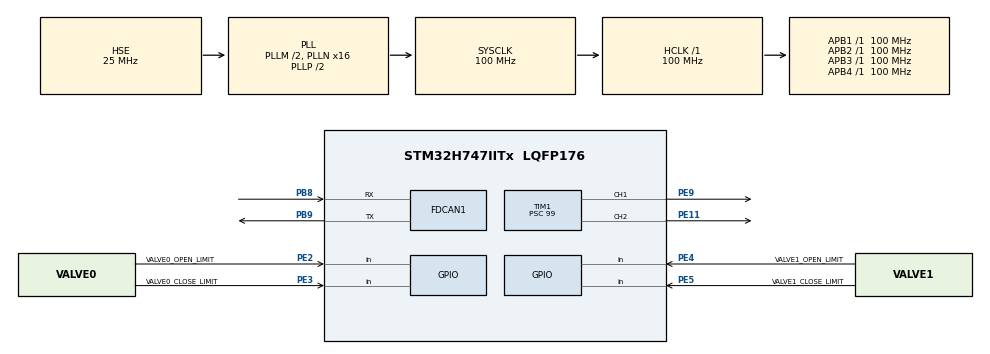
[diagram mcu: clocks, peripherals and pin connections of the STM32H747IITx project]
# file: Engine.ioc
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CORTEX_M7.default_mode_Activation=1
CortexM4.IPs=CORTEX_M4\:I,FATFS_M4\:I,FREERTOS_M4\:I,IWDG2\:I,OPENAMP_M4\:I,PDM2PCM_M4\:I,PWR,RCC,RESMGR_UTILITY,SYS_M4\:I,USB_DEVICE_M4\:I,USB_HOST_M4\:I,VREFBUF,WWDG2\:I,GPIO,DMA,BDMA,MDMA,NVIC2\:I
CortexM7.IPs=CORTEX_M7\:I,FATFS_M7\:I,FREERTOS_M7\:I,IWDG1\:I,OPENAMP_M7\:I,PDM2PCM_M7\:I,PWR\:I,RCC\:I,RESMGR_UTILITY\:I,SYS\:I,USB_DEVICE_M7\:I,USB_HOST_M7\:I,VREFBUF\:I,WWDG1\:I,GPIO\:I,DMA\:I,BDMA\:I,MDMA\:I,NVIC1\:I,TIM1\:I,FDCAN1\:I
CortexM7.Pins=PE2,PE3,PE4,PE5
FDCAN1.AutoRetransmission=ENABLE
FDCAN1.CalculateBaudRateNominal=125000
FDCAN1.CalculateTimeBitNominal=8000
FDCAN1.CalculateTimeQuantumNominal=500.0
FDCAN1.ExtFiltersNbr=1
FDCAN1.NominalPrescaler=25
FDCAN1.NominalSyncJumpWidth=1
FDCAN1.NominalTimeSeg1=13
FDCAN1.NominalTimeSeg2=2
FDCAN1.RxFifo0ElmtsNbr=32
FDCAN1.TxFifoQueueElmtsNbr=32
Mcu.Family=STM32H7
Mcu.Name=STM32H747IITx
Mcu.Package=LQFP176
NVIC1.PriorityGroup=NVIC_PRIORITYGROUP_4
NVIC2.PriorityGroup=NVIC_PRIORITYGROUP_4
PB8.GPIO_PuPd=GPIO_NOPULL
PB8.Mode=FDCAN_Activate
PB8.PinAttribute=CortexM7
PB8.Signal=FDCAN1_RX
PB9.GPIO_PuPd=GPIO_NOPULL
PB9.Mode=FDCAN_Activate
PB9.PinAttribute=CortexM7
PB9.Signal=FDCAN1_TX
PC14-OSC32_IN\ (OSC32_IN).Mode=LSE-External-Clock-Source
PC14-OSC32_IN\ (OSC32_IN).PinAttribute=Free
PC14-OSC32_IN\ (OSC32_IN).Signal=RCC_OSC32_IN
PE11.PinAttribute=CortexM7
PE11.Signal=S_TIM1_CH2
PE2.GPIO_Label=VALVE0_OPEN_LIMIT
PE2.GPIO_PuPd=GPIO_PULLUP
PE2.PinAttribute=CortexM7
PE2.Signal=GPIO_Input
PE3.GPIO_Label=VALVE0_CLOSE_LIMIT
PE3.GPIO_PuPd=GPIO_PULLUP
PE3.PinAttribute=CortexM7
PE3.Signal=GPIO_Input
PE4.GPIO_Label=VALVE1_OPEN_LIMIT
PE4.GPIO_PuPd=GPIO_PULLUP
PE4.PinAttribute=CortexM7
PE4.Signal=GPIO_Input
PE5.GPIO_Label=VALVE1_CLOSE_LIMIT
PE5.GPIO_PuPd=GPIO_PULLUP
PE5.PinAttribute=CortexM7
PE5.Signal=GPIO_Input
PE9.PinAttribute=CortexM7
PE9.Signal=S_TIM1_CH1
PH0-OSC_IN\ (PH0).Mode=HSE-External-Clock-Source
PH0-OSC_IN\ (PH0).PinAttribute=Free
PH0-OSC_IN\ (PH0).Signal=RCC_OSC_IN
ProjectManager.HeapSize=M4-0x200,M7-0x200
ProjectManager.StackSize=M4-0x400,M7-0x400
ProjectManager.TargetToolchain=CMake
RCC.ADCFreq_Value=50390625
RCC.APB1Freq_Value=100000000
RCC.APB2Freq_Value=100000000
RCC.APB3Freq_Value=100000000
RCC.APB4Freq_Value=100000000
RCC.CortexFreq_Value=100000000
RCC.DIVM1=2
RCC.DIVN1=16
RCC.DIVQ1=4
RCC.HCLKFreq_Value=100000000
RCC.PLL2FRACN=0
RCC.PLL3FRACN=0
RCC.PLLFRACN=0
RCC.PLLSourceVirtual=RCC_PLLSOURCE_HSE
RCC.SYSCLKFreq_VALUE=100000000
RCC.SYSCLKSource=RCC_SYSCLKSOURCE_PLLCLK
RCC.SupplySource=PWR_LDO_SUPPLY
RCC.USBFreq_Value=50000000
SH.S_TIM1_CH1.0=TIM1_CH1,PWM Generation1 CH1
SH.S_TIM1_CH2.0=TIM1_CH2,PWM Generation2 CH2
SYS.userName=SYS_M7
TIM1.Channel-PWM\ Generation1\ CH1=TIM_CHANNEL_1
TIM1.Channel-PWM\ Generation2\ CH2=TIM_CHANNEL_2
TIM1.Period=3003
TIM1.Prescaler=99
TIM1.Pulse-PWM\ Generation1\ CH1=1500
TIM1.Pulse-PWM\ Generation2\ CH2=1500
VP_SYS_M4_VS_Systick.Mode=SysTick
board=custom

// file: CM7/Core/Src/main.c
/* USER CODE BEGIN Header */
/**
  ******************************************************************************
  * @file           : main.c
  * @brief          : Main program body
  ******************************************************************************
  * @attention
  *
  * Copyright (c) 2026 STMicroelectronics.
  * All rights reserved.
  *
  * This software is licensed under terms that can be found in the LICENSE file
  * in the root directory of this software component.
  * If no LICENSE file comes with this software, it is provided AS-IS.
  *
  ******************************************************************************
  */
/* USER CODE END Header */
#include "main.h"

/* USER CODE BEGIN Includes */
#include "dil/can_types.h"   /* HAL-free CAN header + node/message id enums            */
#include "stm32h7xx_hal_fdcan.h"
#include "stm32h7xx_hal_rcc_ex.h"
#include "valve/ValveController.h"
#include "BoardEngine.h"
#include "can/CANController.h"
#include "dil/can_bus.h"
/* USER CODE END Includes */

/* USER CODE BEGIN PD */

/* DUAL_CORE_BOOT_SYNC_SEQUENCE: Define for dual core boot synchronization    */
/*                             demonstration code based on hardware semaphore */
/* This define is present in both CM7/CM4 projects                            */
/* To comment when developping/debugging on a single core                     */
#define DUAL_CORE_BOOT_SYNC_SEQUENCE

#if defined(DUAL_CORE_BOOT_SYNC_SEQUENCE)
#ifndef HSEM_ID_0
#define HSEM_ID_0 (0U) /* HW semaphore 0*/
#endif
#endif /* DUAL_CORE_BOOT_SYNC_SEQUENCE */

/* USER CODE END PD */

FDCAN_HandleTypeDef hfdcan1;

TIM_HandleTypeDef htim1;

/* USER CODE BEGIN PV */
static CANController canCtrl;
/* USER CODE END PV */

void SystemClock_Config(void);
static void MPU_Config(void);
static void MX_GPIO_Init(void);
static void MX_FDCAN1_Init(void);
static void MX_TIM1_Init(void);

/* USER CODE BEGIN 0 */
/* ---- TEMP: CAN ping/echo test (Engine = receiver; remove when done) ------- *
 * The M4 owns FDCAN1 and bridges bus frames into the shared RX ring; this is
 * the sole RX-ring consumer (drains it each loop). It replies to every PING it
 * receives with a PONG that echoes the payload. Watch these in the debugger:
 *   canPingRxCount - PINGs received & echoed   canPongTxCount - PONGs sent
 *   canRxTotal     - total frames seen         canLastRxId/Data - last frame    */
volatile uint32_t canPingRxCount = 0;
volatile uint32_t canPongTxCount = 0;
volatile uint32_t canRxTotal     = 0;
volatile uint32_t canLastRxId    = 0;
volatile uint8_t  canLastRxData[8] = {0};

static void CAN_PingPongTest(void)
{
    /* Drain received frames: reply to each PING with a PONG, count them. */
    CANHeader id;
    uint8_t  d[8];
    while (CanBus_Receive(&id, d)) {
        canRxTotal++;
        for (uint32_t i = 0u; i < 8u; i++) { canLastRxData[i] = d[i]; }
    }
}

/* ---- end TEMP CAN ping/echo test ----------------------------------------- */
/* USER CODE END 0 */

int main(void)
{

/* USER CODE BEGIN Boot_Mode_Sequence_0 */

/* USER CODE END Boot_Mode_Sequence_0 */

  /* MPU Configuration--------------------------------------------------------*/
  MPU_Config();

/* USER CODE BEGIN Boot_Mode_Sequence_1 */
/* USER CODE END Boot_Mode_Sequence_1 */
  /* MCU Configuration--------------------------------------------------------*/

  /* Reset of all peripherals, Initializes the Flash interface and the Systick. */
  HAL_Init();

  /* Configure the system clock */
  SystemClock_Config();
/* USER CODE BEGIN Boot_Mode_Sequence_2 */
/* When system initialization is finished, Cortex-M7 will release Cortex-M4 by means of
HSEM notification */
/* Initialise the shared CAN rings before the M4 is released, so they are
   zeroed/armed before the M4 starts servicing the bridge. */
/* wait until CPU2 wakes up from stop mode */
 /* DUAL_CORE_BOOT_SYNC_SEQUENCE */
/* USER CODE END Boot_Mode_Sequence_2 */

  /* Initialize all configured peripherals */
  MX_GPIO_Init();
  MX_FDCAN1_Init();
  MX_TIM1_Init();
  /* USER CODE BEGIN 2 */
  BOARD_ENGINE_Init();
  CANController_Init(&canCtrl, &BOARD_ENGINE);

  HAL_TIM_PWM_Start(&htim1, TIM_CHANNEL_1);
  HAL_TIM_PWM_Start(&htim1, TIM_CHANNEL_2);

  uint32_t lastCanTxMs = 0;
  const uint32_t CAN_TX_INTERVAL_MS = 10;

  /* USER CODE END 2 */

  /* Infinite loop */
  /* USER CODE BEGIN WHILE */
  while (1)
  {
    uint32_t currentMs = HAL_GetTick();

    CANController_Process(&canCtrl);
    BOARD_ENGINE_Update();

    /*if ((currentMs - lastCanTxMs) >= CAN_TX_INTERVAL_MS) {
      lastCanTxMs = currentMs;

      BOARD_ENGINE_SendValveStatus();
    }*/
    /* USER CODE END WHILE */

  }
}

void SystemClock_Config(void)
{
  RCC_OscInitTypeDef RCC_OscInitStruct = {0};
  RCC_ClkInitTypeDef RCC_ClkInitStruct = {0};

  /** Supply configuration update enable
  */
  HAL_PWREx_ConfigSupply(PWR_LDO_SUPPLY);

  /** Configure the main internal regulator output voltage
  */
  __HAL_PWR_VOLTAGESCALING_CONFIG(PWR_REGULATOR_VOLTAGE_SCALE3);

  while(!__HAL_PWR_GET_FLAG(PWR_FLAG_VOSRDY)) {}

  /** Initializes the RCC Oscillators according to the specified parameters
  * in the RCC_OscInitTypeDef structure.
  */
  RCC_OscInitStruct.OscillatorType = RCC_OSCILLATORTYPE_HSE;
  RCC_OscInitStruct.HSEState = RCC_HSE_BYPASS;
  RCC_OscInitStruct.PLL.PLLState = RCC_PLL_ON;
  RCC_OscInitStruct.PLL.PLLSource = RCC_PLLSOURCE_HSE;
  RCC_OscInitStruct.PLL.PLLM = 2;
  RCC_OscInitStruct.PLL.PLLN = 16;
  RCC_OscInitStruct.PLL.PLLP = 2;
  RCC_OscInitStruct.PLL.PLLQ = 4;
  RCC_OscInitStruct.PLL.PLLR = 2;
  RCC_OscInitStruct.PLL.PLLRGE = RCC_PLL1VCIRANGE_3;
  RCC_OscInitStruct.PLL.PLLVCOSEL = RCC_PLL1VCOWIDE;
  RCC_OscInitStruct.PLL.PLLFRACN = 0;
  if (HAL_RCC_OscConfig(&RCC_OscInitStruct) != HAL_OK)
  {
    Error_Handler();
  }

  /** Initializes the CPU, AHB and APB buses clocks
  */
  RCC_ClkInitStruct.ClockType = RCC_CLOCKTYPE_HCLK|RCC_CLOCKTYPE_SYSCLK
                              |RCC_CLOCKTYPE_PCLK1|RCC_CLOCKTYPE_PCLK2
                              |RCC_CLOCKTYPE_D3PCLK1|RCC_CLOCKTYPE_D1PCLK1;
  RCC_ClkInitStruct.SYSCLKSource = RCC_SYSCLKSOURCE_PLLCLK;
  RCC_ClkInitStruct.SYSCLKDivider = RCC_SYSCLK_DIV1;
  RCC_ClkInitStruct.AHBCLKDivider = RCC_HCLK_DIV1;
  RCC_ClkInitStruct.APB3CLKDivider = RCC_APB3_DIV1;
  RCC_ClkInitStruct.APB1CLKDivider = RCC_APB1_DIV1;
  RCC_ClkInitStruct.APB2CLKDivider = RCC_APB2_DIV1;
  RCC_ClkInitStruct.APB4CLKDivider = RCC_APB4_DIV1;

  if (HAL_RCC_ClockConfig(&RCC_ClkInitStruct, FLASH_LATENCY_2) != HAL_OK)
  {
    Error_Handler();
  }
}

static void MX_FDCAN1_Init(void)
{

  hfdcan1.Instance = FDCAN1;
  hfdcan1.Init.FrameFormat = FDCAN_FRAME_CLASSIC;
  hfdcan1.Init.Mode = FDCAN_MODE_NORMAL;
  hfdcan1.Init.AutoRetransmission = ENABLE;
  hfdcan1.Init.TransmitPause = DISABLE;
  hfdcan1.Init.ProtocolException = DISABLE;
  hfdcan1.Init.NominalPrescaler = 25;
  hfdcan1.Init.NominalSyncJumpWidth = 1;
  hfdcan1.Init.NominalTimeSeg1 = 13;
  hfdcan1.Init.NominalTimeSeg2 = 2;
  hfdcan1.Init.DataPrescaler = 1;
  hfdcan1.Init.DataSyncJumpWidth = 1;
  hfdcan1.Init.DataTimeSeg1 = 1;
  hfdcan1.Init.DataTimeSeg2 = 1;
  hfdcan1.Init.MessageRAMOffset = 0;
  hfdcan1.Init.StdFiltersNbr = 0;
  hfdcan1.Init.ExtFiltersNbr = 1;
  hfdcan1.Init.RxFifo0ElmtsNbr = 32;
  hfdcan1.Init.RxFifo0ElmtSize = FDCAN_DATA_BYTES_8;
  hfdcan1.Init.RxFifo1ElmtsNbr = 0;
  hfdcan1.Init.RxFifo1ElmtSize = FDCAN_DATA_BYTES_8;
  hfdcan1.Init.RxBuffersNbr = 0;
  hfdcan1.Init.RxBufferSize = FDCAN_DATA_BYTES_8;
  hfdcan1.Init.TxEventsNbr = 0;
  hfdcan1.Init.TxBuffersNbr = 0;
  hfdcan1.Init.TxFifoQueueElmtsNbr = 32;
  hfdcan1.Init.TxFifoQueueMode = FDCAN_TX_FIFO_OPERATION;
  hfdcan1.Init.TxElmtSize = FDCAN_DATA_BYTES_8;
  if (HAL_FDCAN_Init(&hfdcan1) != HAL_OK)
  {
    Error_Handler();
  }

}

static void MX_TIM1_Init(void)
{

  TIM_MasterConfigTypeDef sMasterConfig = {0};
  TIM_OC_InitTypeDef sConfigOC = {0};
  TIM_BreakDeadTimeConfigTypeDef sBreakDeadTimeConfig = {0};

  htim1.Instance = TIM1;
  htim1.Init.Prescaler = 99;
  htim1.Init.CounterMode = TIM_COUNTERMODE_UP;
  htim1.Init.Period = 3003;
  htim1.Init.ClockDivision = TIM_CLOCKDIVISION_DIV1;
  htim1.Init.RepetitionCounter = 0;
  htim1.Init.AutoReloadPreload = TIM_AUTORELOAD_PRELOAD_DISABLE;
  if (HAL_TIM_PWM_Init(&htim1) != HAL_OK)
  {
    Error_Handler();
  }
  sMasterConfig.MasterOutputTrigger = TIM_TRGO_RESET;
  sMasterConfig.MasterOutputTrigger2 = TIM_TRGO2_RESET;
  sMasterConfig.MasterSlaveMode = TIM_MASTERSLAVEMODE_DISABLE;
  if (HAL_TIMEx_MasterConfigSynchronization(&htim1, &sMasterConfig) != HAL_OK)
  {
    Error_Handler();
  }
  sConfigOC.OCMode = TIM_OCMODE_PWM1;
  sConfigOC.Pulse = 1500;
  sConfigOC.OCPolarity = TIM_OCPOLARITY_HIGH;
  sConfigOC.OCNPolarity = TIM_OCNPOLARITY_HIGH;
  sConfigOC.OCFastMode = TIM_OCFAST_DISABLE;
  sConfigOC.OCIdleState = TIM_OCIDLESTATE_RESET;
  sConfigOC.OCNIdleState = TIM_OCNIDLESTATE_RESET;
  if (HAL_TIM_PWM_ConfigChannel(&htim1, &sConfigOC, TIM_CHANNEL_1) != HAL_OK)
  {
    Error_Handler();
  }
  if (HAL_TIM_PWM_ConfigChannel(&htim1, &sConfigOC, TIM_CHANNEL_2) != HAL_OK)
  {
    Error_Handler();
  }
  sBreakDeadTimeConfig.OffStateRunMode = TIM_OSSR_DISABLE;
  sBreakDeadTimeConfig.OffStateIDLEMode = TIM_OSSI_DISABLE;
  sBreakDeadTimeConfig.LockLevel = TIM_LOCKLEVEL_OFF;
  sBreakDeadTimeConfig.DeadTime = 0;
  sBreakDeadTimeConfig.BreakState = TIM_BREAK_DISABLE;
  sBreakDeadTimeConfig.BreakPolarity = TIM_BREAKPOLARITY_HIGH;
  sBreakDeadTimeConfig.BreakFilter = 0;
  sBreakDeadTimeConfig.Break2State = TIM_BREAK2_DISABLE;
  sBreakDeadTimeConfig.Break2Polarity = TIM_BREAK2POLARITY_HIGH;
  sBreakDeadTimeConfig.Break2Filter = 0;
  sBreakDeadTimeConfig.AutomaticOutput = TIM_AUTOMATICOUTPUT_DISABLE;
  if (HAL_TIMEx_ConfigBreakDeadTime(&htim1, &sBreakDeadTimeConfig) != HAL_OK)
  {
    Error_Handler();
  }
  HAL_TIM_MspPostInit(&htim1);

}

static void MX_GPIO_Init(void)
{
  GPIO_InitTypeDef GPIO_InitStruct = {0};

  /* GPIO Ports Clock Enable */
  __HAL_RCC_GPIOE_CLK_ENABLE();
  __HAL_RCC_GPIOB_CLK_ENABLE();

  /*Configure GPIO pins : VALVE0_OPEN_LIMIT_Pin VALVE0_CLOSE_LIMIT_Pin VALVE1_OPEN_LIMIT_Pin VALVE1_CLOSE_LIMIT_Pin */
  GPIO_InitStruct.Pin = VALVE0_OPEN_LIMIT_Pin|VALVE0_CLOSE_LIMIT_Pin|VALVE1_OPEN_LIMIT_Pin|VALVE1_CLOSE_LIMIT_Pin;
  GPIO_InitStruct.Mode = GPIO_MODE_INPUT;
  GPIO_InitStruct.Pull = GPIO_PULLUP;
  HAL_GPIO_Init(GPIOE, &GPIO_InitStruct);

}

 /* MPU Configuration */

void MPU_Config(void)
{
  MPU_Region_InitTypeDef MPU_InitStruct = {0};

  /* Disables the MPU */
  HAL_MPU_Disable();

  /** Initializes and configures the Region and the memory to be protected
  */
  MPU_InitStruct.Enable = MPU_REGION_ENABLE;
  MPU_InitStruct.Number = MPU_REGION_NUMBER0;
  MPU_InitStruct.BaseAddress = 0x0;
  MPU_InitStruct.Size = MPU_REGION_SIZE_4GB;
  MPU_InitStruct.SubRegionDisable = 0x87;
  MPU_InitStruct.TypeExtField = MPU_TEX_LEVEL0;
  MPU_InitStruct.AccessPermission = MPU_REGION_NO_ACCESS;
  MPU_InitStruct.DisableExec = MPU_INSTRUCTION_ACCESS_DISABLE;
  MPU_InitStruct.IsShareable = MPU_ACCESS_SHAREABLE;
  MPU_InitStruct.IsCacheable = MPU_ACCESS_NOT_CACHEABLE;
  MPU_InitStruct.IsBufferable = MPU_ACCESS_NOT_BUFFERABLE;

  HAL_MPU_ConfigRegion(&MPU_InitStruct);
  /* Enables the MPU */
  HAL_MPU_Enable(MPU_PRIVILEGED_DEFAULT);

}

void Error_Handler(void)
{
  __disable_irq();
  while (1)
  {
  }
}
